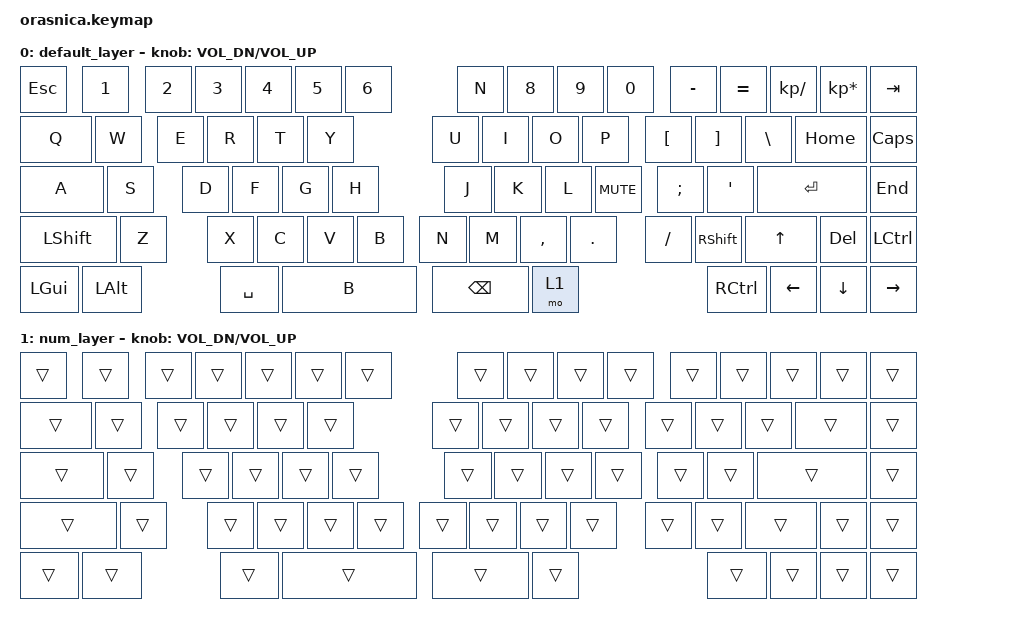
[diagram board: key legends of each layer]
#include <behaviors.dtsi>
#include <dt-bindings/zmk/bt.h>
#include <dt-bindings/zmk/keys.h>
#include <dt-bindings/zmk/pointing.h>

&encoder { status = "okay"; };

/ {
    keymap {
        compatible = "zmk,keymap";

        default_layer {
                bindings = <
                &kp ESC     &kp N1      &kp N2      &kp N3      &kp N4      &kp N5      &kp N6      &kp N       &kp N8      &kp N9      &kp N0      &kp MINUS   &kp EQUAL   &kp KP_DIVIDE  &kp KP_MULTIPLY
                &kp TAB     &kp Q       &kp W       &kp E       &kp R       &kp T       &kp Y       &kp U       &kp I       &kp O       &kp P       &kp LBKT    &kp RBKT    &kp BSLH       &kp HOME
                &kp CLCK    &kp A       &kp S       &kp D       &kp F       &kp G       &kp H       &kp J       &kp K       &kp L       &kp C_MUTE  &kp SEMI    &kp SQT     &kp RET        &kp END
                &kp LSHFT   &kp Z       &kp X       &kp C       &kp V       &kp B       &kp N       &kp M       &kp COMMA   &kp DOT                 &kp FSLH    &kp RSHFT   &kp UP         &kp DEL
                &kp LCTRL   &kp LGUI    &kp LALT                &kp SPACE   &kp B       &kp BSPC                &mo 1                               &kp RCTRL   &kp LEFT    &kp DOWN       &kp RIGHT
            >;
            sensor-bindings = <&inc_dec_kp C_VOL_DN C_VOL_UP>;
        };

        num_layer {
                bindings = <
                &trans      &trans      &trans      &trans      &trans      &trans      &trans      &trans      &trans      &trans      &trans      &trans      &trans      &trans      &trans
                &trans      &trans      &trans      &trans      &trans      &trans      &trans      &trans      &trans      &trans      &trans      &trans      &trans      &trans      &trans
                &trans      &trans      &trans      &trans      &trans      &trans      &trans      &trans      &trans      &trans      &trans      &trans      &trans      &trans      &trans
                &trans      &trans      &trans      &trans      &trans      &trans      &trans      &trans      &trans      &trans                  &trans      &trans      &trans      &trans
                &trans      &trans      &trans                  &trans      &trans      &trans                  &trans                              &trans      &trans      &trans      &trans
            >;
            sensor-bindings = <&inc_dec_kp C_VOL_DN C_VOL_UP>;
        };
    };
};
